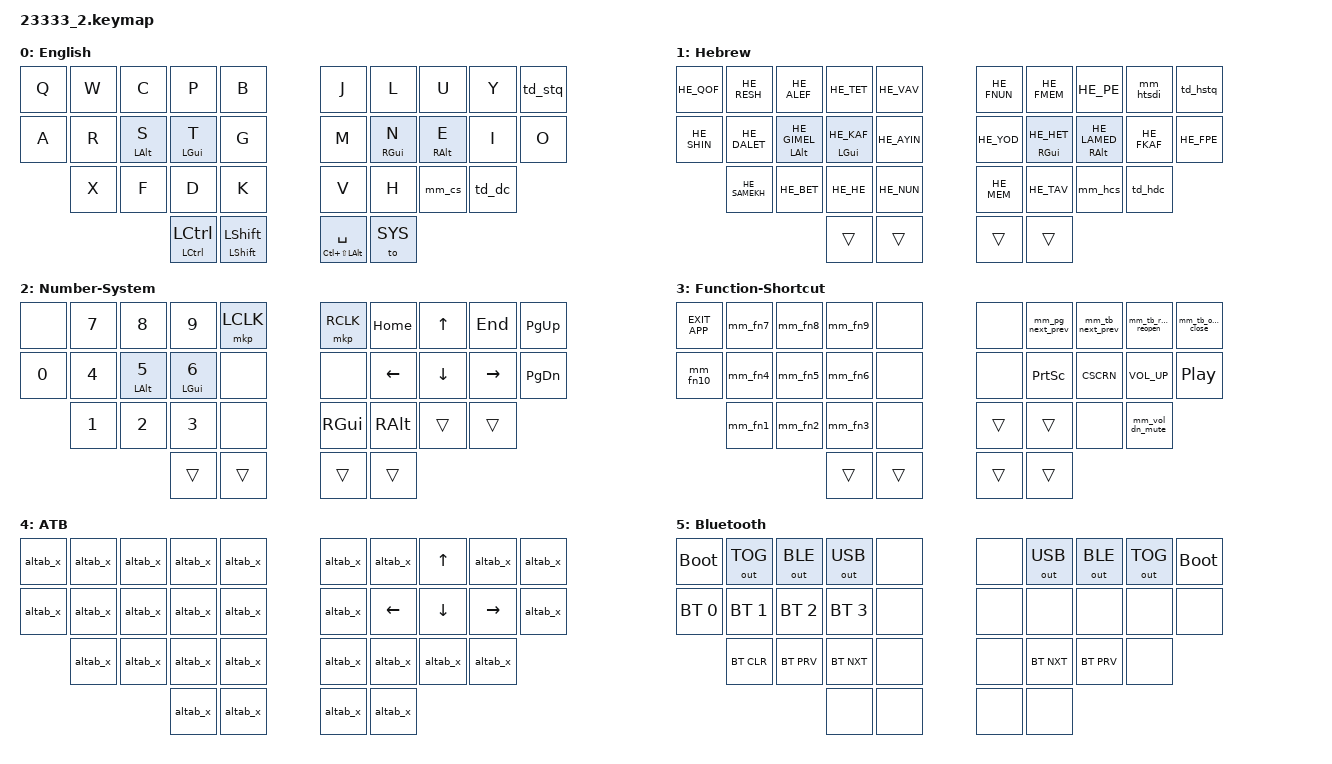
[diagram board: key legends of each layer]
/*
 * Copyright (c) 2020 The ZMK Contributors
 *
 * SPDX-License-Identifier: MIT
 */

#include <behaviors.dtsi>
#include <dt-bindings/zmk/bt.h>
#include <dt-bindings/zmk/keys.h>
#include <dt-bindings/zmk/mouse.h>
#include <dt-bindings/zmk/outputs.h>

// Hebrew Keymap
#include "keys_hebrew.h"

// Extra Keys
#include "shortcut.h"

#define MEH LC(LS(LALT))
#define HYP LC(LS(LA(LGUI)))

// Behavior Defaults

&mt {
    tapping_term_ms = <200>;
    flavor = "tap-preferred";
};

&sk {
    release-after-ms = <2000>;
    quick-release;
};

&caps_word { continue-list = <BACKSPACE DELETE UNDERSCORE MINUS BSPC DEL N1 N2 N3 N4 N5 N6 N7 N8 N9 N0>; };

// Behaviors Constants

#define long_tap 200
#define short_tap 150

// Combos Constants
// #define default_timeout 50
// Layers

#define ENG     0
#define HEB     1
#define SYS     2
#define FUN     3
#define ATB     4
#define BLE     5

/*
* KEY POSITIONS - 32 Key Matrix
* 
* ╭────────────────╮ ╭────────────────╮
* │  0  1  2  3  4 │ │  5  6  7  8  9 │
* │ 10 11 12 13 14 │ │ 15 16 17 18 19 │
* ╰──╮ 20 21 22 23 │ │ 24 25 26 27 ╭──╯
*    ╰─────╮ 28 29 │ │ 30 31 ╭─────╯
*          ╰───────╯ ╰───────╯        
*/

/ {
    combos {
        compatible = "zmk,combos";

        // Layers

        combo_english {
            bindings = <&to ENG>;
            key-positions = <28 31>;
            layers = <ENG SYS FUN BLE>;
            timeout-ms = <50>;
        };

        combo_hebrew_to_english {
            bindings = <&heb_x>;
            key-positions = <28 31>;
            layers = <1>;
            timeout-ms = <50>;
        };

        combo_english_to_hebrew {
            bindings = <&to_heb>;
            key-positions = <14 15>;
            layers = <ENG>;
            timeout-ms = <50>;
        };

        combo_hebrew {
            bindings = <&to HEB>;
            key-positions = <14 15>;
            layers = <SYS FUN BLE>;
            timeout-ms = <50>;
        };

        combo_left_bluetooth {
            bindings = <&to BLE>;
            key-positions = <1 2 3>;
            layers = <ENG HEB SYS FUN BLE>;
            timeout-ms = <50>;
        };

        combo_right_bluetooth {
            bindings = <&to BLE>;
            key-positions = <6 7 8>;
            layers = <ENG HEB SYS FUN BLE>;
            timeout-ms = <50>;

            // General
        };

        combo_capsword {
            bindings = <&caps_word>;
            key-positions = <4 5>;
            layers = <ENG HEB>;
            timeout-ms = <50>;
        };

        combo_alt_tab {
            bindings = <&mm_altb>;
            key-positions = <0 10>;
            layers = <ENG HEB SYS FUN>;
            timeout-ms = <50>;
        };

        combo_escape {
            bindings = <&kp ESCAPE>;
            key-positions = <4 14>;
            layers = <ENG HEB SYS FUN>;
            timeout-ms = <50>;
        };

        combo_backspace_delete {
            bindings = <&mm_bspc_del>;
            key-positions = <5 15>;
            layers = <ENG HEB SYS FUN>;
            timeout-ms = <50>;
        };

        combo_return {
            bindings = <&kp RETURN>;
            key-positions = <9 19>;
            layers = <ENG HEB SYS FUN>;
            timeout-ms = <50>;

            // Shortcuts
        };

        combo_copy {
            bindings = <&kp LC(C)>;
            key-positions = <0 1>;
            layers = <ENG HEB SYS FUN>;
            timeout-ms = <50>;
        };

        combo_paste {
            bindings = <&mm_paste>;
            key-positions = <8 9>;
            layers = <ENG HEB SYS FUN>;
            timeout-ms = <50>;
        };

        combo_undo {
            bindings = <&kp LC(Z)>;
            key-positions = <0 11>;
            layers = <ENG HEB SYS FUN>;
            timeout-ms = <50>;
        };

        combo_redo {
            bindings = <&kp LC(Y)>;
            key-positions = <9 18>;
            layers = <ENG HEB SYS FUN>;
            timeout-ms = <50>;
        };

        // Top to Bottom; Left to Right
        
        // * Top Row
        // * ╭───────┬───────┬───────┬───────┬───────╮   ╭───────┬───────┬───────┬───────┬───────╮
        // *       Copy    <= /<    {/[      (                   )      ]/}     >/>=   Paste
        // * ╰───────┴───────┴───────┴───────┴───────╯   ╰───────┴───────┴───────┴───────┴───────╯

        // Left

        combo_less_than_equal {
            bindings = <&mm_lte>;
            key-positions = <1 2>;
            layers = <0 2>;
            timeout-ms = <50>;
        };

        combo_h_less_than_equal {
            bindings = <&mm_hlte>;
            key-positions = <1 2>;
            layers = <1>;
            timeout-ms = <50>;
        };

        combo_left_bracket_brace {
            bindings = <&kp LBKT>;
            key-positions = <2 3>;
            layers = <0 2>;
            timeout-ms = <50>;
        };

        combo_h_left_bracket_brace {
            bindings = <&kp HE_LBKT>;
            key-positions = <2 3>;
            layers = <1>;
            timeout-ms = <50>;
        };

        combo_left_parenthesis {
            bindings = <&kp LPAR>;
            key-positions = <3 4>;
            layers = <0 2>;
            timeout-ms = <50>;
        };

        combo_h_left_parenthesis {
            bindings = <&kp HE_LPAR>;
            key-positions = <3 4>;
            layers = <1>;
            timeout-ms = <50>;
        };

        // Right

        combo_right_parenthesis {
            bindings = <&kp RPAR>;
            key-positions = <5 6>;
            layers = <0 2>;
            timeout-ms = <50>;
        };

        combo_h_right_parenthesis {
            bindings = <&kp HE_RIGHT_PARENTHESIS>;
            key-positions = <5 6>;
            layers = <1>;
            timeout-ms = <50>;
        };

        combo_right_bracket_brace {
            bindings = <&kp RIGHT_BRACKET>;
            key-positions = <6 7>;
            layers = <0 2>;
            timeout-ms = <50>;
        };

        combo_h_right_bracket_brace {
            bindings = <&kp HE_RIGHT_BRACKET>;
            key-positions = <6 7>;
            layers = <1>;
            timeout-ms = <50>;
        };

        combo_greater_than_equal {
            bindings = <&mm_gte>;
            key-positions = <7 8>;
            layers = <0 2>;
            timeout-ms = <50>;
        };

        combo_h_greater_than_equal {
            bindings = <&mm_hgte>;
            key-positions = <7 8>;
            layers = <1>;
            timeout-ms = <50>;
        };

        // * Top-Home
        // * ╭───────┬───────┬───────┬───────┬───────╮   ╭───────┬───────┬───────┬───────┬───────╮
        // *                                                del
        // * ├─ tab ─┼─  @  ─┼─  #  ─┼─ ₪/$ ─┼─ esc ─┤   ├─  /  ─┼─  -  ─┼─  *  ─┼─  /  ─┼─ ret ─┤
        // *                                               bspc
        // * ╰───────┴───────┴───────┴───────┴───────╯   ╰───────┴───────┴───────┴───────┴───────╯

        // Left

        combo_at_sign {
            bindings = <&kp AT_SIGN>;
            key-positions = <1 11>;
            layers = <0 2>;
            timeout-ms = <50>;
        };

        combo_h_at_sign {
            bindings = <&kp HE_AT_SIGN>;
            key-positions = <1 11>;
            layers = <1>;
            timeout-ms = <50>;
        };

        combo_hash {
            bindings = <&kp HASH>;
            key-positions = <2 12>;
            layers = <0 2>;
            timeout-ms = <50>;
        };

        combo_h_hash {
            bindings = <&kp HE_HASH>;
            key-positions = <2 12>;
            layers = <1>;
            timeout-ms = <50>;
        };

        combo_dollar {
            bindings = <&kp DOLLAR>;
            key-positions = <3 13>;
            layers = <0 2>;
            timeout-ms = <50>;
        };

        combo_h_shekel {
            bindings = <&kp HE_NIS>;
            key-positions = <3 13>;
            layers = <1>;
            timeout-ms = <50>;
        };

        // Right

        combo_hyphen {
            bindings = <&kp MINUS>;
            key-positions = <6 16>;
            layers = <0 2>;
            timeout-ms = <50>;
        };

        combo_h_hyphen {
            bindings = <&kp HE_MINUS>;
            key-positions = <6 16>;
            layers = <1>;
            timeout-ms = <50>;
        };

        combo_asterisk {
            bindings = <&kp ASTERISK>;
            key-positions = <7 17>;
            layers = <0 2>;
            timeout-ms = <50>;
        };

        combo_h_asterisk {
            bindings = <&kp HE_ASTERISK>;
            key-positions = <7 17>;
            layers = <1>;
            timeout-ms = <50>;
        };

        combo_fslash {
            bindings = <&kp FSLH>;
            key-positions = <8 18>;
            layers = <0 2>;
            timeout-ms = <50>;
        };

        combo_h_fslash {
            bindings = <&kp HE_FSLH>;
            key-positions = <8 18>;
            layers = <1>;
            timeout-ms = <50>;
        };

        // * Middle Row
        // * ╭───────┬───────┬───────┬───────┬───────╮   ╭───────┬───────┬───────┬───────┬───────╮
        // *                              != / =                 +
        // * ╰───────┴───────┴───────┴───────┴───────╯   ╰───────┴───────┴───────┴───────┴───────╯
        
        // Left

        combo_un_equal {
            bindings = <&mm_eq>;
            key-positions = <13 14>;
            layers = <0 2>;
            timeout-ms = <50>;
        };

        combo_h_un_equal {
            bindings = <&mm_heq>;
            key-positions = <13 14>;
            layers = <1>;
            timeout-ms = <50>;

            // Right
        };

        combo_plus {
            bindings = <&kp PLUS>;
            key-positions = <15 16>;
            layers = <0 2>;
            timeout-ms = <50>;
        };

        combo_h_plus {
            bindings = <&kp HE_PLUS>;
            key-positions = <15 16>;
            layers = <1>;
            timeout-ms = <50>;
        };

        // * Home-Bottom
        // * ╭───────┬───────┬───────┬───────┬───────╮   ╭───────┬───────┬───────┬───────┬───────╮
        // *                                                                       [???]
         //* ├───────┼ [ז/Z] ┼─  %  ─┼─  &  ─┼───────┤   ├───────┼─  _  ─┼─  `  ─┼ [!/?] ┼───────┤
        // * 
        // * ╰───────┴───────┴───────┴───────┴───────╯   ╰───────┴───────┴───────┴───────┴───────╯

        // Left

        combo_z {
            bindings = <&kp Z>;
            key-positions = <11 20>;
            layers = <0 2>;
            timeout-ms = <50>;
        };

        combo_h_zayin {
            bindings = <&kp HE_ZAYIN>;
            key-positions = <11 20>;
            layers = <1>;
            timeout-ms = <50>;
        };

        combo_percent {
            bindings = <&kp PERCENT>;
            key-positions = <12 21>;
            layers = <0 2>;
            timeout-ms = <50>;
        };

        combo_h_percent {
            bindings = <&kp HE_PERCENT>;
            key-positions = <12 21>;
            layers = <1>;
            timeout-ms = <50>;
        };

        combo_ampersand {
            bindings = <&kp AMPERSAND>;
            key-positions = <13 22>;
            layers = <0 2>;
            timeout-ms = <50>;
        };

        combo_h_ampersand {
            bindings = <&kp HE_AMPERSAND>;
            key-positions = <13 22>;
            layers = <1>;
            timeout-ms = <50>;
        };

        // Right

        combo_underscore {
            bindings = <&kp UNDERSCORE>;
            key-positions = <16 25>;
            layers = <0 2>;
            timeout-ms = <50>;
        };

        combo_h_underscore {
            bindings = <&kp HE_UNDERSCORE>;
            key-positions = <16 25>;
            layers = <1>;
            timeout-ms = <50>;
        };

        combo_backtick {
            bindings = <&kp GRAVE>;
            key-positions = <17 26>;
            layers = <0 1 2>;
            timeout-ms = <50>;
        };

        combo_question_exclamation {
            bindings = <&td_qe>;
            key-positions = <18 27>;
            layers = <0 2>;
            timeout-ms = <50>;
        };

        combo_h_question_exclamation {
            bindings = <&td_hqe>;
            key-positions = <18 27>;
            layers = <1>;
            timeout-ms = <50>;
        };

        // * Bottom Row
        // * ╭───────┬───────┬───────┬───────┬───────╮   ╭───────┬───────┬───────┬───────┬───────╮
        // *                 ~     caret                                 \      pipe
        // * ╰───────┴───────┴───────┴───────┴───────╯   ╰───────┴───────┴───────┴───────┴───────╯
        
        // Left

        combo_tilde {
            bindings = <&kp TILDE>;
            key-positions = <20 21>;
            layers = <0 2>;
            timeout-ms = <50>;
        };

        combo_h_tilde {
            bindings = <&kp HE_TILDE>;
            key-positions = <20 21>;
            layers = <1>;
            timeout-ms = <50>;
        };

        combo_caret {
            bindings = <&kp CARET>;
            key-positions = <21 22>;
            layers = <0 2>;
            timeout-ms = <50>;
        };

        combo_h_caret {
            bindings = <&kp HE_CARET>;
            key-positions = <21 22>;
            layers = <1>;
            timeout-ms = <50>;
        };

        // Right

        combo_backslash {
            bindings = <&kp BACKSLASH>;
            key-positions = <25 26>;
            layers = <0 2>;
            timeout-ms = <50>;
        };

        combo_h_backslash {
            bindings = <&kp HE_BACKSLASH>;
            key-positions = <25 26>;
            layers = <1>;
            timeout-ms = <50>;
        };

        combo_pipe {
            bindings = <&kp PIPE>;
            key-positions = <26 27>;
            layers = <0 2>;
            timeout-ms = <50>;
        };

        combo_h_pipe {
            bindings = <&kp HE_PIPE>;
            key-positions = <26 27>;
            layers = <1>;
            timeout-ms = <50>;
        };
    };

    behaviors {
        hmr: homerow_mods_right {
            compatible = "zmk,behavior-hold-tap";
            #binding-cells = <2>;
            tapping-term-ms = <200>;
            quick_tap_ms = <0>;
            flavor = "tap-preferred";
            bindings = <&kp>, <&kp>;

            hold-trigger-key-positions = <0 1 2 3 4 10 11 12 13 14 20 21 22 23>;
        };

        hml: homerow_mods_left {
            compatible = "zmk,behavior-hold-tap";
            #binding-cells = <2>;
            tapping-term-ms = <200>;
            quick_tap_ms = <0>;
            flavor = "tap-preferred";
            bindings = <&kp>, <&kp>;

            hold-trigger-key-positions = <5 6 7 8 9 15 16 17 18 19 24 25 26 27>;
        };

        sht: sticky_hold_tap {
            compatible = "zmk,behavior-hold-tap";
            #binding-cells = <2>;
            tapping-term-ms = <200>;
            quick_tap_ms = <0>;
            flavor = "tap-preferred";
            bindings = <&sk>, <&kp>;
        };

        khst: key_hold_sticky_tap {
            compatible = "zmk,behavior-hold-tap";
            #binding-cells = <2>;
            tapping-term-ms = <200>;
            quick_tap_ms = <0>;
            flavor = "tap-preferred";
            bindings = <&kp>, <&sk>;
        };

        scw: sticky_shift_capsword {
            compatible = "zmk,behavior-hold-tap";
            #binding-cells = <2>;
            tapping-term-ms = <200>;
            quick_tap_ms = <0>;
            flavor = "tap-preferred";
            bindings = <&caps_word>, <&sk>;
        };

        // LAYER
        // To ENGLISH; Shifted: To Hebrew

        mm_eng_heb: morph_to_english_hebrew {
            compatible = "zmk,behavior-mod-morph";
            #binding-cells = <0>;
            mods = <(MOD_LSFT|MOD_RSFT)>;
            bindings = <&to 0>, <&to 1>;
        };

        // To KEYBOARD; Shifted: To MOUSE
        // To SYMBOL; Shifted: To KEYBOARD

        to SYS: morph_to_system_function {
            compatible = "zmk,behavior-mod-morph";
            #binding-cells = <0>;
            mods = <(MOD_LSFT|MOD_RSFT)>;
            bindings = <&to 2>, <&to 3>;
        };

        // To SYMBOL; Shifted: To MOUSE
        // MOD MORPHS
        // GENERAL

        mm_bspc_del: morph_backspace_delete {
            compatible = "zmk,behavior-mod-morph";
            #binding-cells = <0>;
            mods = <(MOD_LSFT|MOD_RSFT)>;
            bindings = <&kp BACKSPACE>, <&kp DELETE>;
        };

        mm_altb: morph_alt_tab {
            compatible = "zmk,behavior-mod-morph";
            #binding-cells = <0>;
            mods = <(MOD_LALT|MOD_RALT)>;
            bindings = <&kp TAB>, <&to_altab>;
        };

        mm_paste: morph_paste_value {
            compatible = "zmk,behavior-mod-morph";
            #binding-cells = <0>;
            mods = <(MOD_RSFT|MOD_LSFT)>;
            bindings = <&kp LC(V)>, <&kp LC(LS(V))>;
        };

        mm_vol_dn_mute: morph_volume_down_mute {
            compatible = "zmk,behavior-mod-morph";
            #binding-cells = <0>;
            mods = <(MOD_LSFT|MOD_RCTL)>;
            bindings = <&kp C_VOL_DN>, <&kp C_MUTE>;
        };

        // INTERNET SHORTCUTS

        mm_tb_next_prev: morph_internet_tab_next_prev {
            compatible = "zmk,behavior-mod-morph";
            #binding-cells = <0>;
            mods = <(MOD_LSFT|MOD_RSFT)>;
            bindings = <&kp RC(TAB)>, <&kp RC(RS(TAB))>;
        };

        mm_tb_open_close: morph_internet_tab_open_close {
            compatible = "zmk,behavior-mod-morph";
            #binding-cells = <0>;
            mods = <(MOD_LSFT|MOD_RCTL)>;
            bindings = <&kp RC(T)>, <&kp LC(W)>;
        };

        mm_tb_refresh_reopen: morph_internet_tab_refresh_reop {
            compatible = "zmk,behavior-mod-morph";
            #binding-cells = <0>;
            mods = <(MOD_LSFT|MOD_RCTL)>;
            bindings = <&kp RC(R)>, <&kp LS(LC(T))>;
        };

        mm_pg_next_prev: morph_internet_page_next_prev {
            compatible = "zmk,behavior-mod-morph";
            #binding-cells = <0>;
            mods = <(MOD_LSFT|MOD_RSFT)>;
            bindings = <&kp LA(RIGHT_ARROW)>, <&kp LA(LEFT_ARROW)>;
        };

        // PUNCTUATION: English
        // Mod-Morph: Period "."; Colon ":"

        mm_dc: morph_period_colon {
            compatible = "zmk,behavior-mod-morph";
            #binding-cells = <0>;
            mods = <(MOD_LSFT|MOD_RSFT)>;
            bindings = <&kp PERIOD>, <&kp COLON>;
        };

        // Tap-Dance: 1) Mod-Morph Period-Colon; 2) Ellipsis "..."

        td_dc: tap_period_colon {
            compatible = "zmk,behavior-tap-dance";
            #binding-cells = <0>;
            tapping-term-ms = <150>;
            bindings = <&mm_dc>, <&ellipsis>;
        };

        // Mod-Morph: Comma ","; Semicolon ";"

        mm_cs: morph_comma_semicolon {
            compatible = "zmk,behavior-mod-morph";
            #binding-cells = <0>;
            mods = <(MOD_LSFT|MOD_RSFT)>;
            bindings = <&kp COMMA>, <&kp SEMICOLON>;
        };

        // Tap-Dance: 1) Comma ","; 2) Semicolon ";"

        td_cs: tap_comma_semicolon {
            compatible = "zmk,behavior-tap-dance";
            #binding-cells = <0>;
            tapping-term-ms = <150>;
            bindings = <&kp COMMA>, <&kp SEMICOLON>;
        };

        // 1: Single quote "'"; 2: Double quote """; 3: Triple-double quote """""

        td_stq: tap_single_double_triple_quote {
            compatible = "zmk,behavior-tap-dance";
            #binding-cells = <0>;
            tapping-term-ms = <150>;
            bindings = <&kp SINGLE_QUOTE>, <&kp DOUBLE_QUOTES>, <&tri_dqt>;
        };

        // Mod-Morph: Question "?"; Exclamation "!"

        mm_qe: morph_question_exclamation {
            compatible = "zmk,behavior-mod-morph";
            #binding-cells = <0>;
            mods = <(MOD_LSFT|MOD_RSFT)>;
            bindings = <&kp QUESTION>, <&kp EXCLAMATION>;
        };

        // Tap-Dance: 1) Mod-Morph Question-Exclamation; 2) Triple Question "???"

        td_qe: tap_question_exclamation {
            compatible = "zmk,behavior-tap-dance";
            #binding-cells = <0>;
            tapping-term-ms = <150>;
            bindings = <&mm_qe>, <&tri_ques>;
        };

        // PUNCTUATION: Hebrew
        // Mod-Morph: Period "."; Colon ":"

        mm_hdc: morph_hebrew_period_colon {
            compatible = "zmk,behavior-mod-morph";
            #binding-cells = <0>;
            mods = <(MOD_LSFT|MOD_RSFT)>;
            bindings = <&kp HE_PERIOD>, <&kp HE_COLON>;
        };

        // 1) Mod-Morph Period-Colon; 2) Ellipsis "..."

        td_hdc: tap_hebrew_period_colon {
            compatible = "zmk,behavior-tap-dance";
            #binding-cells = <0>;
            tapping-term-ms = <150>;
            bindings = <&mm_hdc>, <&he_ellipsis>;
        };

        // Mod-Morph: Comma ","; Semicolon ";"

        mm_hcs: morph_hebrew_comma_semicolon {
            compatible = "zmk,behavior-mod-morph";
            #binding-cells = <0>;
            mods = <(MOD_LSFT|MOD_RSFT)>;
            bindings = <&kp HE_COMMA>, <&kp HE_SEMICOLON>;
        };

        // Tap-Dance: 1) Comma ","; 2) Semicolon ";"

        td_hcs: tap_hebrew_comma_semicolon {
            compatible = "zmk,behavior-tap-dance";
            #binding-cells = <0>;
            tapping-term-ms = <150>;
            bindings = <&kp HE_COMMA>, <&kp HE_SEMICOLON>;
        };

        // Mod-Morph: Single Quote "'"; Double Quote """

        mm_hsdq: morph_hebrew_single_double_quote {
            compatible = "zmk,behavior-mod-morph";
            #binding-cells = <0>;
            mods = <(MOD_LSFT|MOD_RSFT)>;
            bindings = <&kp HE_SINGLE_QUOTE>, <&kp HE_DOUBLE_QUOTES>;
        };

        // Tap-Dance: 1) Mod-Morph Single-Double Quote; 2) Triple-Double Quote """""

        td_hstq: tap_hebrew_single_double_triple_quote {
            compatible = "zmk,behavior-tap-dance";
            #binding-cells = <0>;
            tapping-term-ms = <150>;
            bindings = <&mm_hsdq>, <&he_tri_dqt>;
        };

        // Mod-Morph: Question "?"; Exclamation "!"

        mm_hqe: morph_hebrew_question_exclamation {
            compatible = "zmk,behavior-mod-morph";
            #binding-cells = <0>;
            mods = <(MOD_LSFT|MOD_RSFT)>;
            bindings = <&kp HE_QUESTION>, <&kp HE_EXCLAMATION>;
        };

        // Tap-Dance: 1) Mod-Morph Question-Exclamation; 2) Triple Question Mark "???"

        td_hqe: tap_hebrew_question_exclamation {
            compatible = "zmk,behavior-tap-dance";
            #binding-cells = <0>;
            tapping-term-ms = <150>;
            bindings = <&mm_hqe>, <&he_tri_ques>;
        };

        // MATH OPERATORS

        mm_eq: morph_un_equal {
            compatible = "zmk,behavior-mod-morph";
            #binding-cells = <0>;
            mods = <(MOD_LSFT|MOD_RSFT)>;
            bindings = <&kp EQUAL>, <&un_equal>;
        };

        mm_heq: morph_hebrew_un_equal {
            compatible = "zmk,behavior-mod-morph";
            #binding-cells = <0>;
            mods = <(MOD_LSFT|MOD_RSFT)>;
            bindings = <&kp HE_EQUAL>, <&he_un_equal>;
        };

        mm_gte: morph_greater_than_equal {
            compatible = "zmk,behavior-mod-morph";
            #binding-cells = <0>;
            mods = <(MOD_LSFT|MOD_RSFT)>;
            bindings = <&kp GREATER_THAN>, <&gte>;
        };

        mm_hgte: morph_hebrew_greater_than_equal {
            compatible = "zmk,behavior-mod-morph";
            #binding-cells = <0>;
            mods = <(MOD_LSFT|MOD_RSFT)>;
            bindings = <&kp HE_GREATER_THAN>, <&he_gte>;
        };

        mm_lte: morph_less_than_equal {
            compatible = "zmk,behavior-mod-morph";
            #binding-cells = <0>;
            mods = <(MOD_LSFT|MOD_RSFT)>;
            bindings = <&kp LESS_THAN>, <&lte>;
        };

        mm_hlte: morph_hebrew_less_than_equal {
            compatible = "zmk,behavior-mod-morph";
            #binding-cells = <0>;
            mods = <(MOD_LSFT|MOD_RSFT)>;
            bindings = <&kp HE_LESS_THAN>, <&he_lte>;
        };

        // Mod-Morph: Mem מ; Final Mem ם

        mm_hmem: morph_hebrew_mem {
            compatible = "zmk,behavior-mod-morph";
            #binding-cells = <0>;
            mods = <(MOD_LSFT|MOD_RSFT)>;
            bindings = <&kp HE_MEM>, <&kp HE_FMEM>;
        };

        // Mod-Morph: Nun נ; Final Nun ן

        mm_hnun: morph_hebrew_nun {
            compatible = "zmk,behavior-mod-morph";
            #binding-cells = <0>;
            mods = <(MOD_LSFT|MOD_RSFT)>;
            bindings = <&kp HE_NUN>, <&kp HE_FNUN>;
        };

        // Mod-Morph: Peh פ; Final Peh ף

        mm_hpe: morph_hebrew_pe {
            compatible = "zmk,behavior-mod-morph";
            #binding-cells = <0>;
            mods = <(MOD_LSFT|MOD_RSFT)>;
            bindings = <&kp HE_PE>, <&kp HE_FPE>;
        };

        // Mod-Morph: Tsadi צ; Final Tsadi ץ

        mm_htsdi: morph_hebrew_tsadi {
            compatible = "zmk,behavior-mod-morph";
            #binding-cells = <0>;
            mods = <(MOD_LSFT|MOD_RSFT)>;
            bindings = <&kp HE_TSADI>, <&kp HE_FTSADI>;
        };

        // FUNCTION PLUS TEN

        mm_fn1: morph_func_1_11 {
            compatible = "zmk,behavior-mod-morph";
            #binding-cells = <0>;
            mods = <(MOD_LSFT|MOD_RSFT)>;
            bindings = <&kp F1>, <&kp F11>;
        };

        mm_fn2: morph_func_2_12 {
            compatible = "zmk,behavior-mod-morph";
            #binding-cells = <0>;
            mods = <(MOD_LSFT|MOD_RSFT)>;
            bindings = <&kp F2>, <&kp F12>;
        };

        mm_fn3: morph_func_3_13 {
            compatible = "zmk,behavior-mod-morph";
            #binding-cells = <0>;
            mods = <(MOD_LSFT|MOD_RSFT)>;
            bindings = <&kp F3>, <&kp F13>;
        };

        mm_fn4: morph_func_4_14 {
            compatible = "zmk,behavior-mod-morph";
            #binding-cells = <0>;
            mods = <(MOD_LSFT|MOD_RSFT)>;
            bindings = <&kp F4>, <&kp F14>;
        };

        mm_fn5: morph_func_5_15 {
            compatible = "zmk,behavior-mod-morph";
            #binding-cells = <0>;
            mods = <(MOD_LSFT|MOD_RSFT)>;
            bindings = <&kp F5>, <&kp F15>;
        };

        mm_fn6: morph_func_6_16 {
            compatible = "zmk,behavior-mod-morph";
            #binding-cells = <0>;
            mods = <(MOD_LSFT|MOD_RSFT)>;
            bindings = <&kp F6>, <&kp F16>;
        };

        mm_fn7: morph_func_7_17 {
            compatible = "zmk,behavior-mod-morph";
            #binding-cells = <0>;
            mods = <(MOD_LSFT|MOD_RSFT)>;
            bindings = <&kp F7>, <&kp F17>;
        };

        mm_fn8: morph_func_8_18 {
            compatible = "zmk,behavior-mod-morph";
            #binding-cells = <0>;
            mods = <(MOD_LSFT|MOD_RSFT)>;
            bindings = <&kp F8>, <&kp F18>;
        };

        mm_fn9: morph_func_9_19 {
            compatible = "zmk,behavior-mod-morph";
            #binding-cells = <0>;
            mods = <(MOD_LSFT|MOD_RSFT)>;
            bindings = <&kp F9>, <&kp F19>;
        };

        mm_fn10: morph_func_10_20 {
            compatible = "zmk,behavior-mod-morph";
            #binding-cells = <0>;
            mods = <(MOD_LSFT|MOD_RSFT)>;
            bindings = <&kp F10>, <&kp F20>;
        };
    };

    macros {
        to_heb: to_hebrew {
            compatible = "zmk,behavior-macro";
            #binding-cells = <0>;
            bindings = <&kp LG(SPACE) &to 1>;
        };

        heb_x: exit_hebrew_to_english {
            compatible = "zmk,behavior-macro";
            #binding-cells = <0>;
            bindings = <&kp LG(SPACE) &to 0>;
        };

        to_altab: to_alt_tab {
            compatible = "zmk,behavior-macro";
            #binding-cells = <0>;
            bindings =
                <&macro_press>,
                <&mo 4>,
                <&macro_pause_for_release>,
                <&macro_release>,
                <&kp LEFT_ALT>,
                <&macro_tap>,
                <&to 0>;
        };

        altab_x: exit_alt_tab {
            compatible = "zmk,behavior-macro";
            #binding-cells = <0>;
            bindings = <&macro_release>, <&kp LEFT_ALT &mo 4>;
        };

        ellipsis: ellipsis {
            compatible = "zmk,behavior-macro";
            #binding-cells = <0>;
            bindings = <&kp DOT &kp DOT &kp DOT>;
        };

        he_ellipsis: hebrew_ellipsis {
            compatible = "zmk,behavior-macro";
            #binding-cells = <0>;
            bindings = <&kp HE_DOT &kp HE_DOT &kp HE_DOT>;
        };

        tri_dqt: triple_double_quote {
            compatible = "zmk,behavior-macro";
            #binding-cells = <0>;
            bindings = <&kp DQT &kp DQT &kp DQT>;
        };

        he_tri_dqt: hebrew_triple_double_quote {
            compatible = "zmk,behavior-macro";
            #binding-cells = <0>;
            bindings = <&kp HE_DQT &kp HE_DQT &kp HE_DQT>;
        };

        tri_ques: triple_question {
            compatible = "zmk,behavior-macro";
            #binding-cells = <0>;
            bindings = <&kp QUESTION &kp QUESTION &kp QUESTION>;
        };

        he_tri_ques: hebrew_triple_question {
            compatible = "zmk,behavior-macro";
            #binding-cells = <0>;
            bindings = <&kp HE_QUESTION &kp HE_QUESTION &kp HE_QUESTION>;
        };

        un_equal: exclamation_equal {
            compatible = "zmk,behavior-macro";
            #binding-cells = <0>;
            bindings = <&kp EXCLAMATION &kp EQUAL>;
        };

        he_un_equal: hebrew_exclamation_equal {
            compatible = "zmk,behavior-macro";
            #binding-cells = <0>;
            bindings = <&kp HE_EXCLAMATION &kp HE_EQUAL>;
        };

        gte: greater_than_equal {
            compatible = "zmk,behavior-macro";
            #binding-cells = <0>;
            bindings = <&kp GREATER_THAN &kp EQUAL>;
        };

        he_gte: hebrew_greater_than_equal {
            compatible = "zmk,behavior-macro";
            #binding-cells = <0>;
            bindings = <&kp HE_GREATER_THAN &kp HE_EQUAL>;
        };

        lte: less_than_equal {
            compatible = "zmk,behavior-macro";
            #binding-cells = <0>;
            bindings = <&kp LESS_THAN &kp EQUAL>;
        };

        he_lte: hebrew_less_than_equal {
            compatible = "zmk,behavior-macro";
            #binding-cells = <0>;
            bindings = <&kp HE_LESS_THAN &kp HE_EQUAL>;
        };
    };

    keymap {
        compatible = "zmk,keymap";

        ENG {
            display-name = "English";
            bindings = <
&kp Q  &kp W  &kp C        &kp P              &kp B                    &kp J           &kp L        &kp U        &kp Y   &td_stq
&kp A  &kp R  &hml LALT S  &hml LGUI T        &kp G                    &kp M           &hmr RGUI N  &hmr RALT E  &kp I   &kp O
       &kp X  &kp F        &kp D              &kp K                    &kp V           &kp H        &mm_cs       &td_dc
                           &khst LCTRL LCTRL  &khst LSHFT LSHFT        &sht MEH SPACE  &to SYS
            >;
        };

        HEB {
            display-name = "Hebrew";
            bindings = <
&kp HE_QOF   &kp HE_RESH    &kp HE_ALEF         &kp HE_TET        &kp HE_VAV         &kp HE_FNUN  &kp HE_FMEM       &kp HE_PE           &mm_htsdi    &td_hstq
&kp HE_SHIN  &kp HE_DALET   &hml LALT HE_GIMEL  &hml LGUI HE_KAF  &kp HE_AYIN        &kp HE_YOD   &hmr RGUI HE_HET  &hmr RALT HE_LAMED  &kp HE_FKAF  &kp HE_FPE
             &kp HE_SAMEKH  &kp HE_BET          &kp HE_HE         &kp HE_NUN         &kp HE_MEM   &kp HE_TAV        &mm_hcs             &td_hdc
                                                &trans            &trans             &trans       &trans
            >;
        };

        SYS {
            display-name = "Number-System";
            bindings = <
&none   &kp N7  &kp N8        &kp N9        &mkp LCLK        &mkp RCLK  &kp HOME  &kp UP    &kp END    &kp PG_UP
&kp N0  &kp N4  &hml LALT N5  &hml LGUI N6  &none            &none      &kp LEFT  &kp DOWN  &kp RIGHT  &kp PG_DN
        &kp N1  &kp N2        &kp N3        &none            &kp RGUI   &kp RALT  &trans    &trans
                              &trans        &trans           &trans     &trans
            >;
        };

        FUN {
            display-name = "Function-Shortcut";
            bindings = <
&kp EXIT_APP  &mm_fn7  &mm_fn8  &mm_fn9  &none         &none   &mm_pg_next_prev  &mm_tb_next_prev  &mm_tb_refresh_reopen  &mm_tb_open_close
&mm_fn10      &mm_fn4  &mm_fn5  &mm_fn6  &none         &none   &kp PSCRN         &kp CSCRN         &kp C_VOL_UP           &kp C_PP
              &mm_fn1  &mm_fn2  &mm_fn3  &none         &trans  &trans            &none             &mm_vol_dn_mute
                                &trans   &trans        &trans  &trans
            >;
        };

        ATB {
            bindings = <
&altab_x  &altab_x  &altab_x  &altab_x  &altab_x        &altab_x  &altab_x  &kp UP    &altab_x   &altab_x
&altab_x  &altab_x  &altab_x  &altab_x  &altab_x        &altab_x  &kp LEFT  &kp DOWN  &kp RIGHT  &altab_x
          &altab_x  &altab_x  &altab_x  &altab_x        &altab_x  &altab_x  &altab_x  &altab_x
                              &altab_x  &altab_x        &altab_x  &altab_x
            >;
        };

        BLE {
            display-name = "Bluetooth";
            bindings = <
&bootloader   &out OUT_TOG  &out OUT_BLE  &out OUT_USB  &none        &none  &out OUT_USB  &out OUT_BLE  &out OUT_TOG  &bootloader
&bt BT_SEL 0  &bt BT_SEL 1  &bt BT_SEL 2  &bt BT_SEL 3  &none        &none  &none         &none         &none         &none
              &bt BT_CLR    &bt BT_PRV    &bt BT_NXT    &none        &none  &bt BT_NXT    &bt BT_PRV    &none
                                          &none         &none        &none  &none
            >;
        };
    };
};
